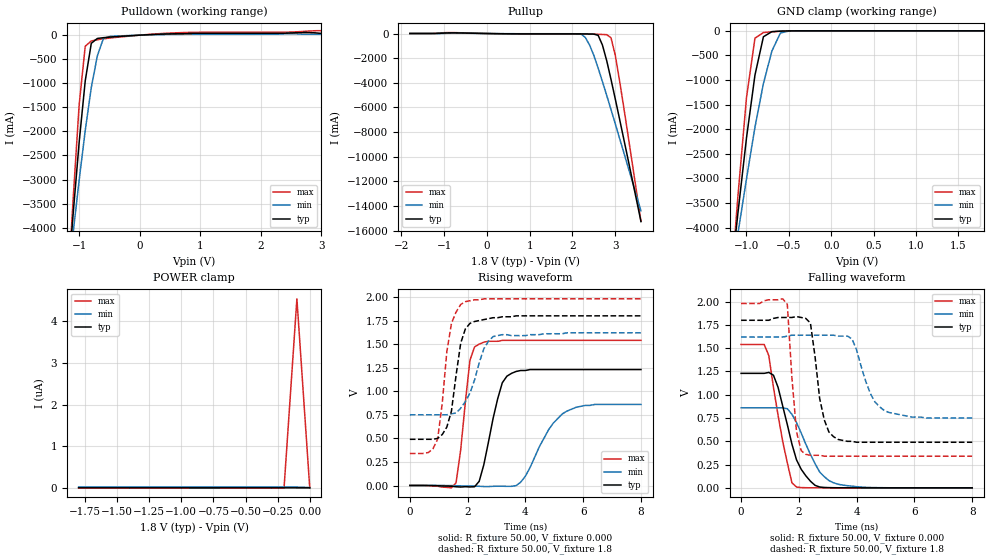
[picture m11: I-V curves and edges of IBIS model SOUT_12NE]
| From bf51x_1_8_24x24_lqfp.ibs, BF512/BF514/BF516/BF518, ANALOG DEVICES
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|   Model pupd_0812_25pad
[Model]   SOUT_12NE
Model_type   I/O
Polarity   Non-Inverting
Enable   Active-Low
Vinl =  0.70V
Vinh =   1.00V
Vmeas =   1.20V
Cref =  50.00pF
Rref =   1.00M
Vref =  0.000V
C_comp   5.83pF   5.81pF   5.85pF
[Temperature Range]   25.00   0.12k   -40.00
[Voltage Range]   1.8V   1.62V   1.98V
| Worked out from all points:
|   slope of the pulldown table from 0 to 0.27 V, typ, clamps not added: 16.2 ohm
|   slope of the pullup table from 0 to 0.27 V, typ, clamps not added: 19.3 ohm
|   GND clamp passes 1 mA (typ) near -0.47 V on its own axis
|   rising waveform, R_fixture 50.00, V_fixture 0.000: 20-80 % time 523ps typ, 921ps min, 318ps max; typ from 0 V to 1.23 V
|   rising waveform, R_fixture 50.00, V_fixture 1.8: 20-80 % time 386ps typ, 575ps min, 369ps max; typ from 0.49 V to 1.8 V
|   falling waveform, R_fixture 50.00, V_fixture 0.000: 20-80 % time 649ps typ, 779ps min, 525ps max; typ from 1.23 V to 0 V
|   falling waveform, R_fixture 50.00, V_fixture 1.8: 20-80 % time 362ps typ, 603ps min, 237ps max; typ from 1.8 V to 0.49 V
[Pulldown]
| voltage   I(typ)   I(min)   I(max)
-1.8V     -15.23A    -12.25A    -19.39A
-1.2V     -5.31A     -5.25A     -5.59A
-1.1V     -3.72A     -4.11A     -3.41A
-1V       -2.22A     -3.01A     -1.44A
-900mV    -950mA     -1.98A     -230mA
-800mV    -170mA     -1.09A     -120mA
-700mV    -68.23mA   -430mA     -94.96mA
-600mV    -52.54mA   -69.77mA   -76.25mA
-500mV    -41.05mA   -28mA      -60.24mA
800mV     33.52mA    17.7mA     56.5mA
3V        36.94mA    19.21mA    93.57mA
3.6V      37.46mA    19.55mA    64.61mA
[Pullup]
| voltage   I(typ)   I(min)   I(max)
-1.8V     970uA      510uA      1.67mA
2.2V      -32mA      -47.46mA   -52.14mA
2.3V      -33.35mA   -320mA     -52.24mA
2.4V      -38.51mA   -940mA     -52.52mA
2.6V      -150mA     -2.81A     -63.84mA
2.7V      -940mA     -3.91A     -76.84mA
2.8V      -2.21A     -5.03A     -93.8mA
2.9V      -3.73A     -6.18A     -350mA
3V        -5.32A     -7.34A     -1.77A
3.1V      -6.95A     -8.51A     -3.83A
3.3V      -10.25A    -10.86A    -8.31A
3.6V      -15.27A    -14.4A     -15.25A
[GND_clamp]
| voltage   I(typ)   I(min)   I(max)
-1.8V     -15.23A    -12.25A    -19.39A
-1.2V     -5.29A     -5.24A     -5.54A
-1.1V     -3.69A     -4.11A     -3.34A
-1V       -2.18A     -3.01A     -1.36A
-900mV    -900mA     -1.96A     -150mA
-800mV    -120mA     -1.07A     -34.6mA
-700mV    -16.43mA   -410mA     -20.01mA
-600mV    -6.01mA    -45.99mA   -8.67mA
-500mV    -1.33mA    -4.71mA    -1.85mA
1.8V      -140pA     19.6nA     -6.41uA
[POWER_clamp]
| voltage   I(typ)   I(min)   I(max)
-1.8V     490pA      20.77nA    240pA
-200mV    190pA      19.72nA    22.08pA
-100mV    79.64pA    18.77nA    4.54uA
0V        -140pA     8nA        1.04nA
[Ramp]
| variable   typ   min   max
dV/dt_r   0.75/0.53n   0.53/0.94n   0.94/0.31n
dV/dt_f   0.81/0.35n   0.54/0.62n   1.01/0.21n
R_load = 50.00
[Rising Waveform]
R_fixture = 50.00
V_fixture = 0.000
V_fixture_min = 0.000
V_fixture_max = 0.000
L_fixture = 0.000H
C_fixture = 0.000F
| time   V(typ)   V(min)   V(max)
0s        320uV      260uV      380uV
1.6ns     -13.5mV    -2.29mV    29.31mV
2.08ns    -15.42mV   -4.98mV    1.33V
2.24ns    -13.1mV    -6.04mV    1.47V
2.4ns     44.53mV    -8.12mV    1.5V
3.04ns    920mV      -6.62mV    1.53V
3.36ns    1.16V      -9.07mV    1.54V
3.84ns    1.22V      36.27mV    1.54V
5.44ns    1.23V      790mV      1.54V
8ns       1.23V      860mV      1.54V
[Rising Waveform]
R_fixture = 50.00
V_fixture = 1.8
V_fixture_min = 1.62
V_fixture_max = 1.98
L_fixture = 0.000H
C_fixture = 0.000F
| time   V(typ)   V(min)   V(max)
0s        490mV      750mV      340mV
640ps     490mV      750mV      350mV
960ps     500mV      750mV      490mV
1.28ns    620mV      750mV      1.42V
1.44ns    790mV      760mV      1.72V
1.76ns    1.51V      820mV      1.92V
2.08ns    1.72V      980mV      1.96V
2.56ns    1.76V      1.45V      1.98V
2.88ns    1.78V      1.58V      1.98V
8ns       1.8V       1.62V      1.98V
[Falling Waveform]
R_fixture = 50.00
V_fixture = 0.000
V_fixture_min = 0.000
V_fixture_max = 0.000
L_fixture = 0.000H
C_fixture = 0.000F
| time   V(typ)   V(min)   V(max)
0s        1.23V      860mV      1.54V
800ps     1.23V      860mV      1.54V
960ps     1.24V      860mV      1.42V
1.12ns    1.21V      860mV      1.08V
1.44ns    880mV      860mV      500mV
1.76ns    470mV      790mV      53.87mV
1.92ns    300mV      700mV      9.17mV
2.72ns    9.32mV     170mV      520uV
3.2ns     1.73mV     54.73mV    390uV
8ns       320uV      270uV      380uV
[Falling Waveform]
R_fixture = 50.00
V_fixture = 1.8
V_fixture_min = 1.62
V_fixture_max = 1.98
L_fixture = 0.000H
C_fixture = 0.000F
| time   V(typ)   V(min)   V(max)
0s        1.8V       1.62V      1.98V
1.6ns     1.83V      1.63V      1.97V
1.92ns    1.84V      1.64V      600mV
2.24ns    1.82V      1.64V      360mV
2.4ns     1.77V      1.64V      350mV
2.88ns    730mV      1.64V      340mV
3.2ns     550mV      1.64V      340mV
3.84ns    500mV      1.6V       340mV
4.96ns    490mV      830mV      340mV
8ns       490mV      750mV      340mV
